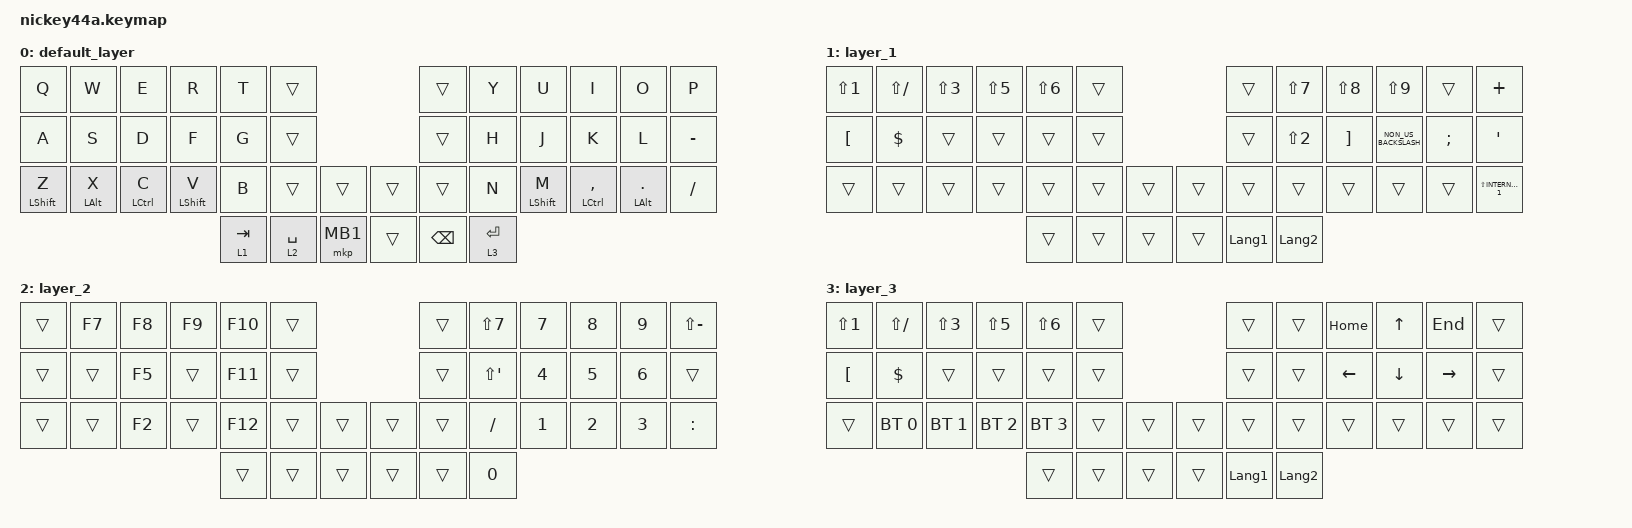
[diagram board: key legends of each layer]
#include <behaviors.dtsi>
#include <dt-bindings/zmk/bt.h>
#include <dt-bindings/zmk/keys.h>
#include <dt-bindings/zmk/pointing.h>

&mt {
    flavor = "balanced";
    quick-tap-ms = <0>;
};

&lt {
    quick-tap-ms = <300>;
    flavor = "balanced";
};

/ {
    combos {
        compatible = "zmk,combos";

        esc1 {
            bindings = <&kp ESCAPE>;
            key-positions = <1 0>;
        };

        win {
            bindings = <&kp LEFT_WIN>;
            key-positions = <15 14 13>;
        };

        del {
            bindings = <&kp DELETE>;
            key-positions = <10 11>;
        };

        mb3 {
            bindings = <&mkp MB3>;
            key-positions = <13 15>;
        };
    };

    macros {
        to_layer_0: to_layer_0 {
            compatible = "zmk,behavior-macro-one-param";
            #binding-cells = <1>;
            bindings = <&to 0 &macro_param_1to1 &kp MACRO_PLACEHOLDER>;
            label = "TO_LAYER_0";
        };
    };

    behaviors {
        lt_to_layer_0: lt_to_layer_0 {
            compatible = "zmk,behavior-hold-tap";
            label = "LAYER_TAP_TO_0";
            bindings = <&mo>, <&to_layer_0>;

            #binding-cells = <2>;
            tapping-term-ms = <200>;
        };

        new_ht: new_ht {
            compatible = "zmk,behavior-hold-tap";
            label = "NEW_HT";
            bindings = <&kp>, <&kp>;

            #binding-cells = <2>;
            tapping-term-ms = <200>;
            flavor = "tap-preferred";
        };
    };

    keymap {
        compatible = "zmk,keymap";

        default_layer {
            bindings = <
&kp Q            &kp W               &kp E                   &kp R                 &kp T      &trans                           &trans         &kp Y        &kp U                 &kp I                       &kp O                    &kp P
&kp A            &kp S               &kp D                   &kp F                 &kp G      &trans                           &trans         &kp H        &kp J                 &kp K                       &kp L                    &kp MINUS
&new_ht LSHFT Z  &new_ht LEFT_ALT X  &new_ht LEFT_CONTROL C  &new_ht LEFT_SHIFT V  &kp B      &trans       &trans      &trans  &trans         &kp N        &new_ht LEFT_SHIFT M  &new_ht LEFT_CONTROL COMMA  &new_ht LEFT_ALT PERIOD  &kp SLASH
                                                                                   &lt 1 TAB  &lt 2 SPACE  &mkp MB1    &trans  &kp BACKSPACE  &lt 3 ENTER
            >;
        };

        layer_1 {
            bindings = <
&kp LS(NUMBER_1)  &kp LS(SLASH)  &kp LS(NUMBER_3)  &kp LS(N5)  &kp LS(NUMBER_6)  &trans                    &trans          &kp LS(N7)        &kp LS(N8)         &kp LS(N9)            &trans         &kp PLUS
&kp LEFT_BRACKET  &kp DOLLAR     &trans            &trans      &trans            &trans                    &trans          &kp LS(NUMBER_2)  &kp RIGHT_BRACKET  &kp NON_US_BACKSLASH  &kp SEMICOLON  &kp SQT
&trans            &trans         &trans            &trans      &trans            &trans  &trans    &trans  &trans          &trans            &trans             &trans                &trans         &kp LS(INTERNATIONAL_1)
                                                               &trans            &trans  &trans    &trans  &kp LANGUAGE_1  &kp LANGUAGE_2
            >;
        };

        layer_2 {
            bindings = <
&trans  &kp F7  &kp F8  &kp F9  &kp F10  &trans                    &trans  &kp LS(N7)   &kp N7        &kp N8        &kp N9        &kp LS(MINUS)
&trans  &trans  &kp F5  &trans  &kp F11  &trans                    &trans  &kp LS(SQT)  &kp NUMBER_4  &kp N5        &kp NUMBER_6  &trans
&trans  &trans  &kp F2  &trans  &kp F12  &trans  &trans    &trans  &trans  &kp SLASH    &kp NUMBER_1  &kp NUMBER_2  &kp NUMBER_3  &kp COLON
                                &trans   &trans  &trans    &trans  &trans  &kp N0
            >;
        };

        layer_3 {
            bindings = <
&kp LS(NUMBER_1)  &kp LS(SLASH)  &kp LS(NUMBER_3)  &kp LS(N5)    &kp LS(NUMBER_6)  &trans                    &trans          &trans          &kp HOME  &kp UP    &kp END    &trans
&kp LEFT_BRACKET  &kp DOLLAR     &trans            &trans        &trans            &trans                    &trans          &trans          &kp LEFT  &kp DOWN  &kp RIGHT  &trans
&trans            &bt BT_SEL 0   &bt BT_SEL 1      &bt BT_SEL 2  &bt BT_SEL 3      &trans  &trans    &trans  &trans          &trans          &trans    &trans    &trans     &trans
                                                                 &trans            &trans  &trans    &trans  &kp LANGUAGE_1  &kp LANGUAGE_2
            >;
        };
    };
};
